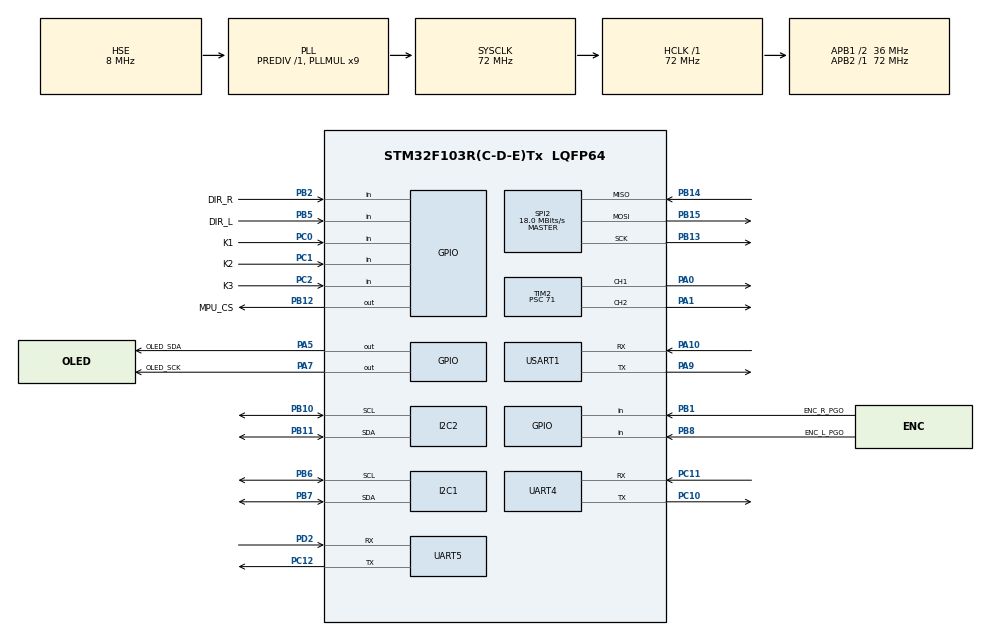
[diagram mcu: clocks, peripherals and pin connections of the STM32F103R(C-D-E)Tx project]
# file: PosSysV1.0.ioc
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FREERTOS.Tasks01=defaultTask,24,512,StartDefaultTask,Default,NULL,Dynamic,NULL,NULL;BuzzerTask,24,128,StartBuzzerTask,Default,NULL,Dynamic,NULL,NULL;JYTASK,24,512,StartJYTASK,Default,NULL,Dynamic,NULL,NULL
FREERTOS.configTOTAL_HEAP_SIZE=15360
FREERTOS.configUSE_NEWLIB_REENTRANT=1
Mcu.Family=STM32F1
Mcu.Name=STM32F103R(C-D-E)Tx
Mcu.Package=LQFP64
NVIC.PriorityGroup=NVIC_PRIORITYGROUP_4
NVIC.TIM6_IRQn=true\:15\:0\:false\:false\:true\:false\:false\:true\:true
NVIC.TIM7_IRQn=true\:5\:0\:false\:false\:true\:true\:true\:true\:true
NVIC.TimeBase=TIM6_IRQn
NVIC.TimeBaseIP=TIM6
NVIC.UART4_IRQn=true\:5\:0\:false\:false\:true\:true\:true\:true\:true
NVIC.UART5_IRQn=true\:5\:0\:false\:false\:true\:true\:true\:true\:true
NVIC.USART1_IRQn=true\:5\:0\:false\:false\:true\:true\:true\:true\:true
PA0-WKUP.Signal=S_TIM2_CH1_ETR
PA1.Signal=S_TIM2_CH2
PA10.Mode=Asynchronous
PA10.Signal=USART1_RX
PA13.Mode=Serial_Wire
PA13.Signal=SYS_JTMS-SWDIO
PA14.Mode=Serial_Wire
PA14.Signal=SYS_JTCK-SWCLK
PA5.GPIO_Label=OLED_SDA
PA5.Signal=GPIO_Output
PA7.GPIO_Label=OLED_SCK
PA7.Signal=GPIO_Output
PA9.Mode=Asynchronous
PA9.Signal=USART1_TX
PB1.GPIO_Label=ENC_R_PGO
PB1.Signal=GPIO_Input
PB10.Mode=I2C
PB10.Signal=I2C2_SCL
PB11.Mode=I2C
PB11.Signal=I2C2_SDA
PB12.GPIO_Label=MPU_CS
PB12.Signal=GPIO_Output
PB13.Mode=Full_Duplex_Master
PB13.Signal=SPI2_SCK
PB14.Mode=Full_Duplex_Master
PB14.Signal=SPI2_MISO
PB15.Mode=Full_Duplex_Master
PB15.Signal=SPI2_MOSI
PB2.GPIO_Label=DIR_R
PB2.Signal=GPIO_Input
PB5.GPIO_Label=DIR_L
PB5.Signal=GPIO_Input
PB6.Mode=I2C
PB6.Signal=I2C1_SCL
PB7.Mode=I2C
PB7.Signal=I2C1_SDA
PB8.GPIO_Label=ENC_L_PGO
PB8.Signal=GPIO_Input
PC0.GPIO_Label=K1
PC0.Signal=GPIO_Input
PC1.GPIO_Label=K2
PC1.Signal=GPIO_Input
PC10.Mode=Asynchronous
PC10.Signal=UART4_TX
PC11.Mode=Asynchronous
PC11.Signal=UART4_RX
PC12.Mode=Asynchronous
PC12.Signal=UART5_TX
PC2.GPIO_Label=K3
PC2.Signal=GPIO_Input
PD0-OSC_IN.Mode=HSE-External-Oscillator
PD0-OSC_IN.Signal=RCC_OSC_IN
PD1-OSC_OUT.Mode=HSE-External-Oscillator
PD1-OSC_OUT.Signal=RCC_OSC_OUT
PD2.Mode=Asynchronous
PD2.Signal=UART5_RX
ProjectManager.HeapSize=0x200
ProjectManager.StackSize=0x400
ProjectManager.TargetToolchain=STM32CubeIDE
RCC.AHBFreq_Value=72000000
RCC.APB1CLKDivider=RCC_HCLK_DIV2
RCC.APB1Freq_Value=36000000
RCC.APB1TimFreq_Value=72000000
RCC.APB2Freq_Value=72000000
RCC.APB2TimFreq_Value=72000000
RCC.HCLKFreq_Value=72000000
RCC.PLLMUL=RCC_PLL_MUL9
RCC.PLLSourceVirtual=RCC_PLLSOURCE_HSE
RCC.SYSCLKFreq_VALUE=72000000
RCC.SYSCLKSource=RCC_SYSCLKSOURCE_PLLCLK
RCC.USBFreq_Value=72000000
SH.S_TIM2_CH1_ETR.0=TIM2_CH1,PWM Generation1 CH1
SH.S_TIM2_CH2.0=TIM2_CH2,PWM Generation2 CH2
SPI2.CalculateBaudRate=18.0 MBits/s
SPI2.Direction=SPI_DIRECTION_2LINES
SPI2.Mode=SPI_MODE_MASTER
SPI2.VirtualType=VM_MASTER
TIM2.Channel-PWM\ Generation1\ CH1=TIM_CHANNEL_1
TIM2.Channel-PWM\ Generation2\ CH2=TIM_CHANNEL_2
TIM2.Period=1000-1
TIM2.Prescaler=71
TIM7.Period=1000-1
TIM7.Prescaler=72-1
UART4.VirtualMode=Asynchronous
UART5.VirtualMode=Asynchronous
USART1.VirtualMode=VM_ASYNC
VP_FREERTOS_VS_CMSIS_V2.Mode=CMSIS_V2
VP_SYS_VS_tim6.Mode=TIM6
VP_TIM7_VS_ClockSourceINT.Mode=Enable_Timer
board=custom

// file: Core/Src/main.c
/* USER CODE BEGIN Header */
/**
  ******************************************************************************
  * @file           : main.c
  * @brief          : Main program body
  ******************************************************************************
  * @attention
  *
  * Copyright (c) 2024 STMicroelectronics.
  * All rights reserved.
  *
  * This software is licensed under terms that can be found in the LICENSE file
  * in the root directory of this software component.
  * If no LICENSE file comes with this software, it is provided AS-IS.
  *
  ******************************************************************************
  */
/* USER CODE END Header */
#include "main.h"
#include "cmsis_os.h"
#include "i2c.h"
#include "spi.h"
#include "tim.h"
#include "usart.h"
#include "gpio.h"

/* USER CODE BEGIN Includes */
#include "wit_c_sdk.h"
#include "uartComm.h"
/* USER CODE END Includes */

/* USER CODE BEGIN PV */
uint8_t u1_data = 0;
uint8_t u4_data = 0;
uint8_t u5_data = 0;
/* USER CODE END PV */

void SystemClock_Config(void);
void MX_FREERTOS_Init(void);

/* USER CODE BEGIN 0 */
void HAL_UART_RxCpltCallback(UART_HandleTypeDef *huart)
{
    if (huart->Instance == USART1)
    {
        HAL_UART_Receive_IT(&huart1, &u1_data, 1);
    }
    if (huart->Instance == UART4)
    {
        HAL_UART_Receive_IT(&huart4, &u4_data, 1);
        WitSerialDataIn(u4_data);
    }
    if (huart->Instance == UART5)
    {
        HAL_UART_Receive_IT(&huart5, &u5_data, 1);
    }
}
/* USER CODE END 0 */

int main(void)
{

  /* MCU Configuration--------------------------------------------------------*/

  /* Reset of all peripherals, Initializes the Flash interface and the Systick. */
  HAL_Init();

  /* Configure the system clock */
  SystemClock_Config();

  /* Initialize all configured peripherals */
  MX_GPIO_Init();
  MX_I2C1_Init();
  MX_I2C2_Init();
  MX_SPI2_Init();
  MX_TIM2_Init();
  MX_UART4_Init();
  MX_UART5_Init();
  MX_USART1_UART_Init();
  MX_TIM7_Init();
  /* USER CODE BEGIN 2 */
    HAL_TIM_PWM_Start(&htim2, TIM_CHANNEL_1);
    HAL_TIM_PWM_Start(&htim2, TIM_CHANNEL_2);
    HAL_UART_Receive_IT(&huart1, &u1_data, 1);
    HAL_UART_Receive_IT(&huart4, &u4_data, 1);
    HAL_UART_Receive_IT(&huart5, &u5_data, 1);
    HAL_TIM_Base_Start_IT(&htim7);
  /* USER CODE END 2 */

  /* Init scheduler */
  osKernelInitialize();  /* Call init function for freertos objects (in freertos.c) */
  MX_FREERTOS_Init();

  /* Start scheduler */
  osKernelStart();

  /* We should never get here as control is now taken by the scheduler */
  /* Infinite loop */
    while (1)
    {

    }
}

void SystemClock_Config(void)
{
  RCC_OscInitTypeDef RCC_OscInitStruct = {0};
  RCC_ClkInitTypeDef RCC_ClkInitStruct = {0};

  /** Initializes the RCC Oscillators according to the specified parameters
  * in the RCC_OscInitTypeDef structure.
  */
  RCC_OscInitStruct.OscillatorType = RCC_OSCILLATORTYPE_HSE;
  RCC_OscInitStruct.HSEState = RCC_HSE_ON;
  RCC_OscInitStruct.HSEPredivValue = RCC_HSE_PREDIV_DIV1;
  RCC_OscInitStruct.HSIState = RCC_HSI_ON;
  RCC_OscInitStruct.PLL.PLLState = RCC_PLL_ON;
  RCC_OscInitStruct.PLL.PLLSource = RCC_PLLSOURCE_HSE;
  RCC_OscInitStruct.PLL.PLLMUL = RCC_PLL_MUL9;
  if (HAL_RCC_OscConfig(&RCC_OscInitStruct) != HAL_OK)
  {
    Error_Handler();
  }

  /** Initializes the CPU, AHB and APB buses clocks
  */
  RCC_ClkInitStruct.ClockType = RCC_CLOCKTYPE_HCLK|RCC_CLOCKTYPE_SYSCLK
                              |RCC_CLOCKTYPE_PCLK1|RCC_CLOCKTYPE_PCLK2;
  RCC_ClkInitStruct.SYSCLKSource = RCC_SYSCLKSOURCE_PLLCLK;
  RCC_ClkInitStruct.AHBCLKDivider = RCC_SYSCLK_DIV1;
  RCC_ClkInitStruct.APB1CLKDivider = RCC_HCLK_DIV2;
  RCC_ClkInitStruct.APB2CLKDivider = RCC_HCLK_DIV1;

  if (HAL_RCC_ClockConfig(&RCC_ClkInitStruct, FLASH_LATENCY_2) != HAL_OK)
  {
    Error_Handler();
  }
}

void HAL_TIM_PeriodElapsedCallback(TIM_HandleTypeDef *htim)
{
  /* USER CODE BEGIN Callback 0 */
    if (htim->Instance == TIM7)
    {
        static int tim7_timeCnt = 0;
        tim7_timeCnt++;
        if (tim7_timeCnt >= 10)
        {
            tim7_timeCnt = 0;
            CalPos();
        }
    }
  /* USER CODE END Callback 0 */
  if (htim->Instance == TIM6) {
    HAL_IncTick();
  }
}

void Error_Handler(void)
{
    __disable_irq();
    while (1)
    {
    }
}

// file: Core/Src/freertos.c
/* USER CODE BEGIN Header */
/**
  ******************************************************************************
  * File Name          : freertos.c
  * Description        : Code for freertos applications
  ******************************************************************************
  * @attention
  *
  * Copyright (c) 2024 STMicroelectronics.
  * All rights reserved.
  *
  * This software is licensed under terms that can be found in the LICENSE file
  * in the root directory of this software component.
  * If no LICENSE file comes with this software, it is provided AS-IS.
  *
  ******************************************************************************
  */
/* USER CODE END Header */

#include "FreeRTOS.h"
#include "task.h"
#include "main.h"
#include "cmsis_os.h"

/* USER CODE BEGIN Includes */
#include "buzzer.h"
#include "music.h"
#include "userUart.h"
#include "as5600.h"
#include "pos.h"
#include "jy91.h"
#include "uartComm.h"
/* USER CODE END Includes */

/* Definitions for defaultTask */
osThreadId_t defaultTaskHandle;
const osThreadAttr_t defaultTask_attributes = {
  .name = "defaultTask",
  .stack_size = 512 * 4,
  .priority = (osPriority_t) osPriorityNormal,
};
/* Definitions for BuzzerTask */
osThreadId_t BuzzerTaskHandle;
const osThreadAttr_t BuzzerTask_attributes = {
  .name = "BuzzerTask",
  .stack_size = 128 * 4,
  .priority = (osPriority_t) osPriorityNormal,
};
/* Definitions for JYTASK */
osThreadId_t JYTASKHandle;
const osThreadAttr_t JYTASK_attributes = {
  .name = "JYTASK",
  .stack_size = 512 * 4,
  .priority = (osPriority_t) osPriorityNormal,
};

void StartDefaultTask(void *argument);
void StartBuzzerTask(void *argument);
void StartJYTASK(void *argument);

void MX_FREERTOS_Init(void); /* (MISRA C 2004 rule 8.1) */

void MX_FREERTOS_Init(void) {

  /* Create the thread(s) */
  /* creation of defaultTask */
  defaultTaskHandle = osThreadNew(StartDefaultTask, NULL, &defaultTask_attributes);

  /* creation of BuzzerTask */
  BuzzerTaskHandle = osThreadNew(StartBuzzerTask, NULL, &BuzzerTask_attributes);

  /* creation of JYTASK */
  JYTASKHandle = osThreadNew(StartJYTASK, NULL, &JYTASK_attributes);

}

void StartDefaultTask(void *argument)
{
  /* USER CODE BEGIN StartDefaultTask */
    /* Infinite loop */
    for (;;)
    {
        Serial1_Printf("%d,%d,%f\n", POS_GetPosX(),POS_GetPosY(),GetYaw());
        SendPos();
        osDelay(10);
    }
  /* USER CODE END StartDefaultTask */
}

void StartBuzzerTask(void *argument)
{
  /* USER CODE BEGIN StartBuzzerTask */
    /* Infinite loop */
    readyMusic();
    for (;;)
    {
        POS_CalPosEncSpeedAndPos();
        osDelay(5);
    }
  /* USER CODE END StartBuzzerTask */
}

void StartJYTASK(void *argument)
{
  /* USER CODE BEGIN StartJYTASK */
    /* Infinite loop */
    JyInit();
    for (;;)
    {
        JyMain();
//        Serial1_Printf("YAW=%f\n", GetYaw());
        osDelay(5);

    }
  /* USER CODE END StartJYTASK */
}
